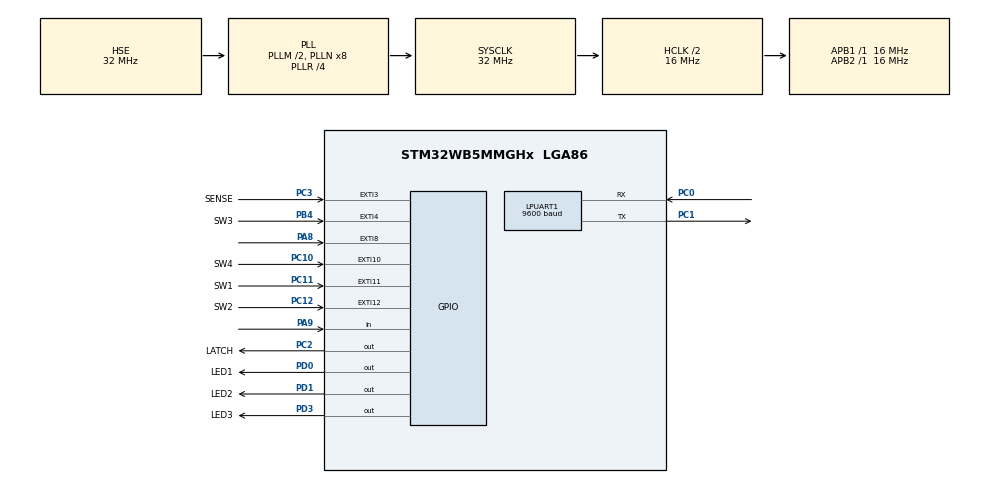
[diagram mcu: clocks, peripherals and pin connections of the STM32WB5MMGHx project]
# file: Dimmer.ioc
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ADC1.Channel-1\#ChannelRegularConversion=ADC_CHANNEL_VREFINT
ADC1.NbrOfConversionFlag=1
ADC1.OffsetNumber-1\#ChannelRegularConversion=ADC_OFFSET_1
ADC1.Rank-1\#ChannelRegularConversion=1
ADC1.SamplingTime-1\#ChannelRegularConversion=ADC_SAMPLETIME_640CYCLES_5
ADC1.master=1
Dma.ADC1.0.Direction=DMA_PERIPH_TO_MEMORY
Dma.ADC1.0.EventEnable=DISABLE
Dma.ADC1.0.Instance=DMA1_Channel1
Dma.ADC1.0.MemDataAlignment=DMA_MDATAALIGN_HALFWORD
Dma.ADC1.0.MemInc=DMA_MINC_ENABLE
Dma.ADC1.0.Mode=DMA_NORMAL
Dma.ADC1.0.PeriphDataAlignment=DMA_PDATAALIGN_HALFWORD
Dma.ADC1.0.PeriphInc=DMA_PINC_DISABLE
Dma.ADC1.0.Polarity=HAL_DMAMUX_REQ_GEN_RISING
Dma.ADC1.0.Priority=DMA_PRIORITY_LOW
Dma.ADC1.0.RequestNumber=1
Dma.ADC1.0.SignalID=NONE
Dma.ADC1.0.SyncEnable=DISABLE
Dma.ADC1.0.SyncPolarity=HAL_DMAMUX_SYNC_NO_EVENT
Dma.ADC1.0.SyncRequestNumber=1
Dma.ADC1.0.SyncSignalID=NONE
Dma.Request0=ADC1
LPUART1.BaudRate=9600
Mcu.Family=STM32WB
Mcu.Name=STM32WB5MMGHx
Mcu.Package=LGA86
NVIC.DMA1_Channel1_IRQn=true\:0\:0\:false\:false\:true\:false\:true\:true
NVIC.EXTI15_10_IRQn=true\:0\:0\:false\:false\:true\:true\:true\:true
NVIC.EXTI3_IRQn=true\:0\:0\:false\:false\:true\:true\:true\:true
NVIC.EXTI4_IRQn=true\:0\:0\:false\:false\:true\:true\:true\:true
NVIC.EXTI9_5_IRQn=true\:0\:0\:false\:false\:true\:true\:true\:true
NVIC.HSEM_IRQn=true\:0\:0\:false\:false\:true\:false\:true\:true
NVIC.IPCC_C1_RX_IRQn=true\:0\:0\:false\:false\:true\:true\:true\:true
NVIC.IPCC_C1_TX_IRQn=true\:0\:0\:false\:false\:true\:true\:true\:true
NVIC.PriorityGroup=NVIC_PRIORITYGROUP_4
NVIC.RTC_WKUP_IRQn=true\:0\:0\:false\:false\:true\:true\:true\:true
PA8.GPIO_ModeDefaultEXTI=GPIO_MODE_IT_FALLING
PA8.GPIO_PuPd=GPIO_NOPULL
PA8.Signal=GPXTI8
PA9.GPIO_PuPd=GPIO_NOPULL
PA9.Signal=GPIO_Input
PB4.GPIO_Label=SW3
PB4.GPIO_ModeDefaultEXTI=GPIO_MODE_IT_FALLING
PB4.GPIO_PuPd=GPIO_NOPULL
PB4.Signal=GPXTI4
PC0.Mode=Asynchronous
PC0.Signal=LPUART1_RX
PC1.Mode=Asynchronous
PC1.Signal=LPUART1_TX
PC10.GPIO_Label=SW4
PC10.GPIO_ModeDefaultEXTI=GPIO_MODE_IT_FALLING
PC10.Signal=GPXTI10
PC11.GPIO_Label=SW1
PC11.GPIO_ModeDefaultEXTI=GPIO_MODE_IT_FALLING
PC11.GPIO_PuPd=GPIO_NOPULL
PC11.Signal=GPXTI11
PC12.GPIO_Label=SW2
PC12.GPIO_ModeDefaultEXTI=GPIO_MODE_IT_FALLING
PC12.GPIO_PuPd=GPIO_NOPULL
PC12.Signal=GPXTI12
PC2.GPIO_Label=LATCH
PC2.GPIO_PuPd=GPIO_NOPULL
PC2.Signal=GPIO_Output
PC3.GPIO_Label=SENSE
PC3.GPIO_ModeDefaultEXTI=GPIO_MODE_IT_RISING
PC3.Signal=GPXTI3
PD0.GPIO_Label=LED1
PD0.PinState=GPIO_PIN_SET
PD0.Signal=GPIO_Output
PD1.GPIO_Label=LED2
PD1.PinState=GPIO_PIN_SET
PD1.Signal=GPIO_Output
PD3.GPIO_Label=LED3
PD3.PinState=GPIO_PIN_SET
PD3.Signal=GPIO_Output
ProjectManager.HeapSize=0x400
ProjectManager.StackSize=0x1000
ProjectManager.TargetToolchain=STM32CubeIDE
RCC.ADCCLockSelection=RCC_ADCCLKSOURCE_SYSCLK
RCC.ADCFreq_Value=32000000
RCC.AHB3CLKDivider=RCC_SYSCLK_DIV2
RCC.AHBCLKDivider=RCC_SYSCLK_DIV2
RCC.AHBFreq_Value=16000000
RCC.APB1Freq_Value=16000000
RCC.APB1TimFreq_Value=16000000
RCC.APB2Freq_Value=16000000
RCC.APB2TimFreq_Value=16000000
RCC.APB3Freq_Value=16000000
RCC.CortexFreq_Value=16000000
RCC.HCLKFreq_Value=16000000
RCC.HSE_VALUE=32000000
RCC.HSI48_VALUE=48000000
RCC.HSI_VALUE=16000000
RCC.LPUART1CLockSelection=RCC_LPUART1CLKSOURCE_LSE
RCC.PLLM=RCC_PLLM_DIV2
RCC.PLLP=RCC_PLLP_DIV4
RCC.PLLQ=RCC_PLLQ_DIV4
RCC.PLLR=RCC_PLLR_DIV4
RCC.PLLSAI1R=RCC_PLLR_DIV4
RCC.PLLSourceVirtual=RCC_PLLSOURCE_HSE
RCC.RFWKPClockSelection=RCC_RFWKPCLKSOURCE_LSE
RCC.RTCClockSelection=RCC_RTCCLKSOURCE_LSE
RCC.SMPSCLockSelection=RCC_SMPSCLKSOURCE_HSE
RCC.SYSCLKFreq_VALUE=32000000
RCC.SYSCLKSource=RCC_SYSCLKSOURCE_PLLCLK
RCC.USBFreq_Value=64000000
RCC.VCOOutputFreq_Value=128000000
RTC.WakeUpClock-WakeUp=RTC_WAKEUPCLOCK_RTCCLK_DIV16
STM32_WPAN.CFG_CLI_UART=hw_lpuart1
STM32_WPAN.CFG_DEBUGGER_SUPPORTED=0
STM32_WPAN.CFG_DEBUG_TRACE=0
STM32_WPAN.CFG_DEBUG_TRACE_FULL=0
STM32_WPAN.CFG_DEBUG_TRACE_LIGHT=0
STM32_WPAN.CFG_FULL_LOW_POWER=1
STM32_WPAN.CFG_HW_LPUART1_ENABLED=1
STM32_WPAN.CFG_HW_USART1_ENABLED=1
STM32_WPAN.CFG_LPM_SUPPORTED=1
STM32_WPAN.CFG_LSCLK_LSE=0
STM32_WPAN.CFG_USE_SMPS=0
STM32_WPAN.CHANNEL=17
STM32_WPAN.PANID=5555
STM32_WPAN.THREAD_APPLICATION=MTD
VP_ADC1_Vref_Input.Mode=IN-Vrefint
VP_HSEM_VS_HSEM.Mode=HSEM_Activate
VP_IPCC_VS_IPCC.Mode=IPCC_Activate
VP_MEMORYMAP_VS_MEMORYMAP.Mode=CurAppReg
VP_RCC_V_OSC32_IN.Mode=LSE-External-Clock-Source
VP_RCC_V_OSC_IN.Mode=HSE-External-Clock-Source
VP_RF_VS_RF.Mode=RF_Activate
VP_RTC_VS_RTC_Activate.Mode=RTC_Enabled
VP_RTC_VS_RTC_WakeUp_intern.Mode=WakeUp
VP_SEQUENCER_VS_SEQUENCER.Mode=SEQUENCER_Enabled
VP_STM32_WPAN_VS_THREAD.Mode=STM32_WPAN_Enabled
VP_TINY_LPM_VS_TINY_LPM.Mode=TINY_LPM_Enabled
board=custom

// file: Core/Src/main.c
/* USER CODE BEGIN Header */
/**
  ******************************************************************************
  * @file           : main.c
  * @brief          : Main program body
  ******************************************************************************
  * @attention
  *
  * Copyright (c) 2025 STMicroelectronics.
  * All rights reserved.
  *
  * This software is licensed under terms that can be found in the LICENSE file
  * in the root directory of this software component.
  * If no LICENSE file comes with this software, it is provided AS-IS.
  *
  ******************************************************************************
  */
/* USER CODE END Header */
#include "main.h"
#include "adc.h"
#include "dma.h"
#include "ipcc.h"
#include "usart.h"
#include "memorymap.h"
#include "rf.h"
#include "rtc.h"
#include "gpio.h"

/* USER CODE BEGIN Includes */
#include "stm32_seq.h"

/* USER CODE END Includes */

void SystemClock_Config(void);
void PeriphCommonClock_Config(void);

/* USER CODE BEGIN 0 */
void HAL_GPIO_EXTI_Callback(uint16_t GPIO_Pin)
{
  switch (GPIO_Pin) {
    case SW1_Pin:
      UTIL_SEQ_SetTask(TASK_SW1, CFG_SCH_PRIO_0);
    break;
    case SW2_Pin:
      UTIL_SEQ_SetTask(TASK_SW2, CFG_SCH_PRIO_0);
    break;
    case SW3_Pin:
      UTIL_SEQ_SetTask(TASK_SW3, CFG_SCH_PRIO_0);
    break;
    case SW4_Pin:
      UTIL_SEQ_SetTask(TASK_SW4, CFG_SCH_PRIO_0);
    break;
    case GPIO_PIN_8:
      if (HAL_GPIO_ReadPin(GPIOA, GPIO_PIN_9) != GPIO_PIN_RESET) {
        UTIL_SEQ_SetTask(TASK_ENCODER_DOWN, CFG_SCH_PRIO_0);
      } else {
        UTIL_SEQ_SetTask(TASK_ENCODER_UP, CFG_SCH_PRIO_0);
      }

    break;
    case SENSE_Pin:
      UTIL_SEQ_SetTask(TASK_WAKEUP_ENCODER, CFG_SCH_PRIO_0);
    break;
  }
}
/* USER CODE END 0 */

int main(void)
{

  /* MCU Configuration--------------------------------------------------------*/

  /* Reset of all peripherals, Initializes the Flash interface and the Systick. */
  HAL_Init();
  /* Config code for STM32_WPAN (HSE Tuning must be done before system clock configuration) */
  MX_APPE_Config();

  /* Configure the system clock */
  SystemClock_Config();

  /* Configure the peripherals common clocks */
  PeriphCommonClock_Config();

  /* IPCC initialisation */
  MX_IPCC_Init();

  /* Initialize all configured peripherals */
  MX_GPIO_Init();
  MX_DMA_Init();
  MX_LPUART1_UART_Init();
  MX_RTC_Init();
  MX_ADC1_Init();
  MX_RF_Init();

  /* Init code for STM32_WPAN */
  MX_APPE_Init();

  /* Infinite loop */
  while (1)
  {
    MX_APPE_Process();

  }
}

void SystemClock_Config(void)
{
  RCC_OscInitTypeDef RCC_OscInitStruct = {0};
  RCC_ClkInitTypeDef RCC_ClkInitStruct = {0};

  /** Configure LSE Drive Capability
  */
  HAL_PWR_EnableBkUpAccess();
  __HAL_RCC_LSEDRIVE_CONFIG(RCC_LSEDRIVE_MEDIUMHIGH);

  /** Configure the main internal regulator output voltage
  */
  __HAL_PWR_VOLTAGESCALING_CONFIG(PWR_REGULATOR_VOLTAGE_SCALE1);

  /** Initializes the RCC Oscillators according to the specified parameters
  * in the RCC_OscInitTypeDef structure.
  */
  RCC_OscInitStruct.OscillatorType = RCC_OSCILLATORTYPE_HSI|RCC_OSCILLATORTYPE_HSE
                              |RCC_OSCILLATORTYPE_LSE;
  RCC_OscInitStruct.HSEState = RCC_HSE_ON;
  RCC_OscInitStruct.LSEState = RCC_LSE_ON;
  RCC_OscInitStruct.HSIState = RCC_HSI_ON;
  RCC_OscInitStruct.HSICalibrationValue = RCC_HSICALIBRATION_DEFAULT;
  RCC_OscInitStruct.PLL.PLLState = RCC_PLL_ON;
  RCC_OscInitStruct.PLL.PLLSource = RCC_PLLSOURCE_HSE;
  RCC_OscInitStruct.PLL.PLLM = RCC_PLLM_DIV2;
  RCC_OscInitStruct.PLL.PLLN = 8;
  RCC_OscInitStruct.PLL.PLLP = RCC_PLLP_DIV4;
  RCC_OscInitStruct.PLL.PLLR = RCC_PLLR_DIV4;
  RCC_OscInitStruct.PLL.PLLQ = RCC_PLLQ_DIV4;
  if (HAL_RCC_OscConfig(&RCC_OscInitStruct) != HAL_OK)
  {
    Error_Handler();
  }

  /** Configure the SYSCLKSource, HCLK, PCLK1 and PCLK2 clocks dividers
  */
  RCC_ClkInitStruct.ClockType = RCC_CLOCKTYPE_HCLK4|RCC_CLOCKTYPE_HCLK2
                              |RCC_CLOCKTYPE_HCLK|RCC_CLOCKTYPE_SYSCLK
                              |RCC_CLOCKTYPE_PCLK1|RCC_CLOCKTYPE_PCLK2;
  RCC_ClkInitStruct.SYSCLKSource = RCC_SYSCLKSOURCE_PLLCLK;
  RCC_ClkInitStruct.AHBCLKDivider = RCC_SYSCLK_DIV2;
  RCC_ClkInitStruct.APB1CLKDivider = RCC_HCLK_DIV1;
  RCC_ClkInitStruct.APB2CLKDivider = RCC_HCLK_DIV1;
  RCC_ClkInitStruct.AHBCLK2Divider = RCC_SYSCLK_DIV1;
  RCC_ClkInitStruct.AHBCLK4Divider = RCC_SYSCLK_DIV2;

  if (HAL_RCC_ClockConfig(&RCC_ClkInitStruct, FLASH_LATENCY_0) != HAL_OK)
  {
    Error_Handler();
  }
}

void PeriphCommonClock_Config(void)
{
  RCC_PeriphCLKInitTypeDef PeriphClkInitStruct = {0};

  /** Initializes the peripherals clock
  */
  PeriphClkInitStruct.PeriphClockSelection = RCC_PERIPHCLK_SMPS|RCC_PERIPHCLK_RFWAKEUP;
  PeriphClkInitStruct.RFWakeUpClockSelection = RCC_RFWKPCLKSOURCE_LSE;
  PeriphClkInitStruct.SmpsClockSelection = RCC_SMPSCLKSOURCE_HSE;
  PeriphClkInitStruct.SmpsDivSelection = RCC_SMPSCLKDIV_RANGE0;

  if (HAL_RCCEx_PeriphCLKConfig(&PeriphClkInitStruct) != HAL_OK)
  {
    Error_Handler();
  }
}

void Error_Handler(void)
{
  __disable_irq();
  while (1)
  {
  }
}
